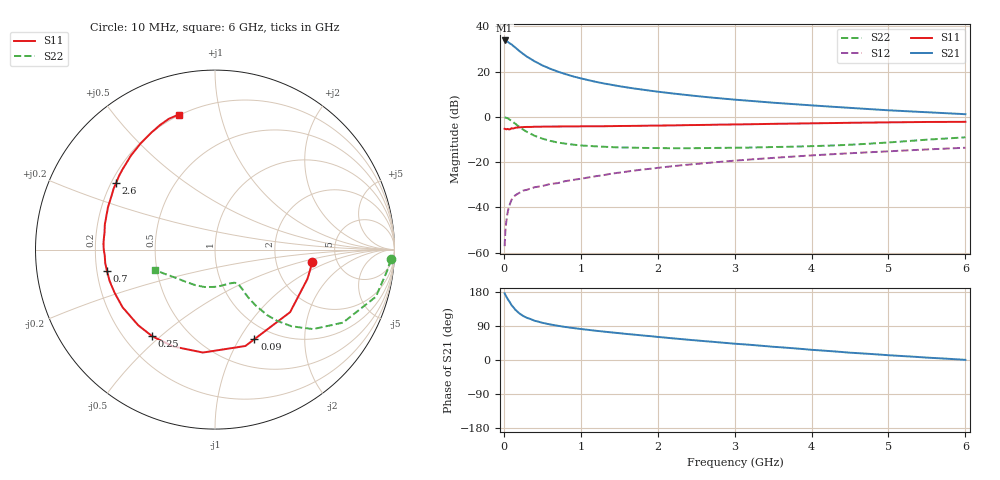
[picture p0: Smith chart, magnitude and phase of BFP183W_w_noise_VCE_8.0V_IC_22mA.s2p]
! (c) 2017  Infineon Technologies AG, Munich
! Infineon Technologies  Discrete & RF Semiconductors
! BFP183W
! VCE =  8.0 V,  IC =  22 mA
! Common Emitter S-Parameters:  Jan 2017
# GHz  S  MA  R  50
!  f  S11  S21  S12  S22
! GHz  MAG  ANG  MAG  ANG  MAG  ANG  MAG  ANG
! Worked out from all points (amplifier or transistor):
!   77 points, 10 MHz to 6 GHz, reference 50 ohm
!   highest |S21| = 33.8 dB at 10 MHz (marker M1)
!   |S21| within 3 dB of that: start of sweep to 144.7 MHz
!   unconditionally stable (mu >= 1): 1.159 GHz to 3.513 GHz
!   at 130 MHz: K = 0.24, MSG = 33.2 dB, |S12| = -35.3 dB
!   at 2.2 GHz: K = 1.06, MAG = 14.5 dB, |S12| = -21.7 dB
!   at 6 GHz: K = 0.87, MSG = 7.4 dB, |S12| = -13.6 dB
!   lowest NFmin = 1.22 dB at 450 MHz
!   S11 on the Smith chart (normalised r, x): 10 MHz: 3.28, -0.65; 90 MHz: 0.82, -1.16; 250 MHz: 0.31, -0.47; 700 MHz: 0.24, -0.09; 2.6 GHz: 0.22, +0.29; 6 GHz: 0.20, +0.75
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0.01  0.5472 -7.3  48.71 176.1  0.0014 79.7  0.9807 -3.2
0.02  0.5403 -17.6  48.13 171.7  0.003 101.6  0.968 -6.7
0.05  0.5446 -39.8  45.56 160.8  0.0079 71.3  0.9342 -16.3
0.09  0.5453 -66.3  40.77 148.2  0.0134 64.6  0.84 -26.7
0.1  0.5631 -72.5  39.92 144.6  0.0148 63.7  0.8214 -29.7
0.15  0.5775 -96.7  33.92 132.5  0.0187 54.7  0.7038 -39.0
0.2  0.5878 -113.4  28.72 123.3  0.021 50.1  0.6046 -45.0
0.25  0.5962 -125.9  24.64 116.3  0.0236 47.7  0.527 -48.9
0.3  0.6006 -135.4  21.37 111.3  0.0246 46.2  0.4657 -51.5
0.4  0.6071 -148.1  16.83 103.5  0.028 45.1  0.3832 -54.0
0.5  0.609 -156.9  13.73 98.2  0.0298 47.8  0.3315 -55.1
0.6  0.6126 -163.5  11.62 93.9  0.033 48.1  0.2965 -55.5
0.7  0.6134 -168.7  10.01 90.4  0.0345 50.6  0.2723 -55.3
0.9  0.6152 -176.8  7.841 84.4  0.0407 53.1  0.2442 -55.8
1.1  0.6222 177.0  6.464 79.5  0.0461 56.3  0.2291 -56.5
1.5  0.6298 167.0  4.765 70.8  0.0588 57.7  0.2121 -60.5
2.1  0.6461 154.5  3.442 59.1  0.0784 58.7  0.2042 -71.2
2.6  0.665 145.8  2.777 49.9  0.0947 57.4  0.205 -83.1
3.1  0.6849 137.8  2.332 41.6  0.1113 55.7  0.2092 -95.7
4.1  0.7251 123.8  1.752 25.5  0.1444 50.6  0.2286 -121.8
5.1  0.7608 113.0  1.372 11.4  0.1773 44.9  0.2804 -147.4
6  0.7791 105.1  1.147 0.4  0.2085 39.0  0.3536 -161.4
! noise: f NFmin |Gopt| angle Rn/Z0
0.45  1.22  0.22  174  0.1
0.9  1.25  0.26  177  0.09
1.9  1.73  0.41  -161  0.09
2.4  1.96  0.46  -155  0.12
